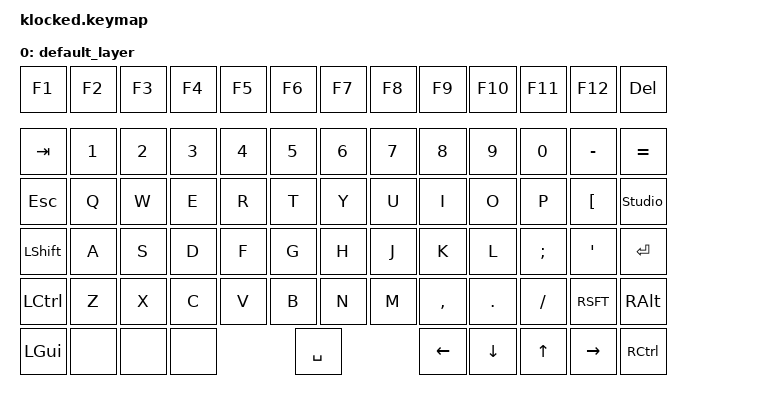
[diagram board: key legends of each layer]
#include <behaviors.dtsi>
#include "klocked-layouts.dtsi"
#include <dt-bindings/zmk/keys.h>
#include <dt-bindings/zmk/bt.h>
#include <dt-bindings/zmk/ext_power.h> 
#include <dt-bindings/zmk/outputs.h>

&mt {
    quick-tap-ms = <200>;
    flavor = "tap-preferred";
    require-prior-idle-ms = <125>;
};

/ {
    keymap {
        compatible = "zmk,keymap";

        default_layer {
            bindings = <
                // ROW 0: Function Keys
                &kp F1    &kp F2 &kp F3 &kp F4 &kp F5 &kp F6 &kp F7 &kp F8 &kp F9 &kp F10 &kp F11   &kp F12   &kp DEL

                // ROW 1: Number Row (Keys below F1 are Tab, etc.)
                &kp TAB   &kp N1 &kp N2 &kp N3 &kp N4 &kp N5 &kp N6 &kp N7 &kp N8 &kp N9  &kp N0    &kp MINUS &kp EQUAL

                // ROW 2: QWERTY starts at RC(2,1)
                &kp ESC   &kp Q  &kp W  &kp E  &kp R  &kp T  &kp Y  &kp U  &kp I  &kp O   &kp P     &kp LBKT  &studio_unlock

                // ROW 3: Home Row
                &kp LSHFT &kp A  &kp S  &kp D  &kp F  &kp G  &kp H  &kp J  &kp K  &kp L   &kp SEMI  &kp SQT   &kp ENTER

                // ROW 4: Bottom Alpha Row
                &kp LCTRL &kp Z  &kp X  &kp C  &kp V  &kp B  &kp N  &kp M  &kp COMMA &kp DOT &kp FSLH &kp RSFT &kp RALT

                // ROW 5: Bottom Utility Row (Space at RC(5,6))
                &kp LGUI  &none  &none  &none         &kp SPACE             &kp LEFT &kp DOWN &kp UP &kp RIGHT &kp RCTL
            >;
        };
    };
};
